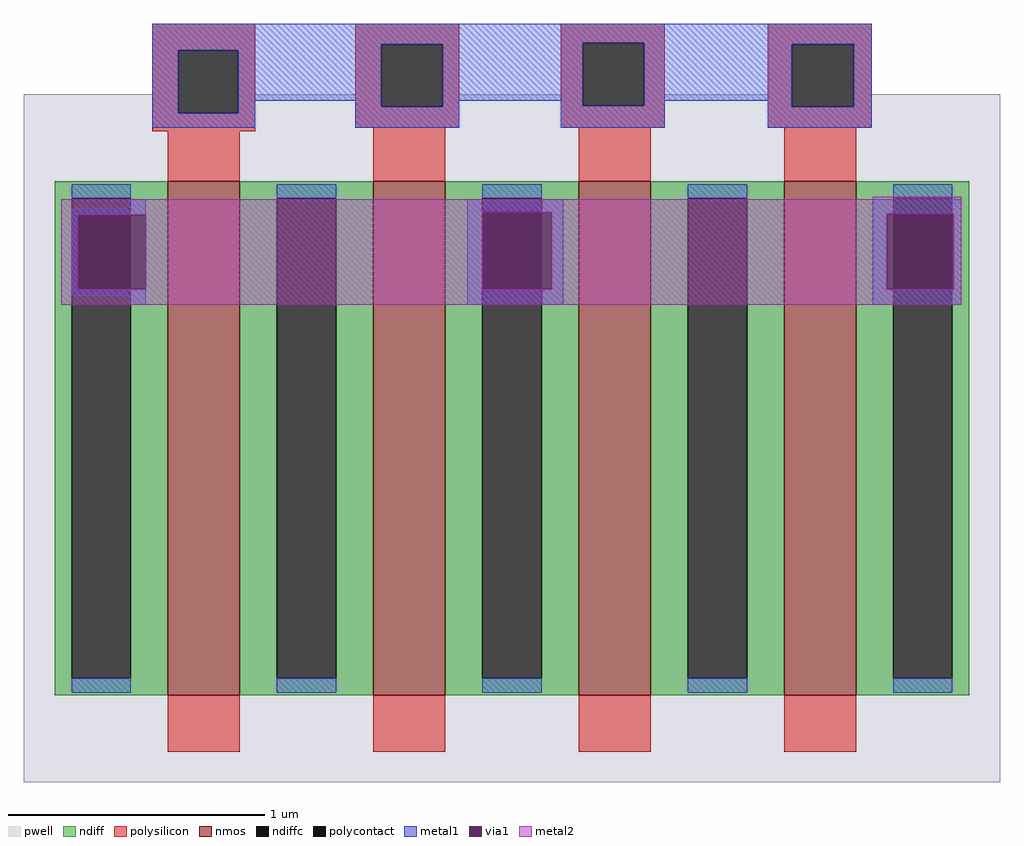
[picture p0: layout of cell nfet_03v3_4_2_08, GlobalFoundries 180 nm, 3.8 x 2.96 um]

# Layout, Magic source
magic
tech gf180mcuD
magscale 1 10
<< pwell >>
rect 100 507 180 591
rect 258 510 339 591
rect 418 510 499 591
rect 579 510 660 591
rect 83 453 95 454
rect 81 442 95 453
rect 42 384 95 442
rect 81 372 95 384
rect 661 372 730 454
<< ndiff >>
rect 83 453 95 454
rect 81 442 95 453
rect 42 384 95 442
rect 81 372 95 384
rect 661 372 730 454
<< polysilicon >>
rect 100 570 180 591
rect 100 521 120 570
rect 167 521 180 570
rect 100 507 180 521
rect 258 575 339 591
rect 258 526 278 575
rect 326 526 339 575
rect 258 510 339 526
rect 418 576 499 591
rect 418 527 435 576
rect 483 527 499 576
rect 418 510 499 527
rect 579 575 660 591
rect 579 526 598 575
rect 646 526 660 575
rect 579 510 660 526
<< polycontact >>
rect 120 521 167 570
rect 278 526 326 575
rect 435 527 483 576
rect 598 526 646 575
<< metal1 >>
rect 100 576 660 591
rect 100 575 435 576
rect 100 570 278 575
rect 100 521 120 570
rect 167 531 278 570
rect 167 521 180 531
rect 100 510 180 521
rect 258 526 278 531
rect 326 531 435 575
rect 326 526 339 531
rect 258 510 339 526
rect 418 527 435 531
rect 483 575 660 576
rect 483 531 598 575
rect 483 527 499 531
rect 418 510 499 527
rect 579 526 598 531
rect 646 526 660 575
rect 579 510 660 526
rect 723 454 724 455
rect 83 453 95 454
rect 81 447 95 453
rect 37 442 95 447
rect 37 384 42 442
rect 37 379 95 384
rect 81 372 95 379
rect 345 444 420 454
rect 345 384 357 444
rect 411 384 420 444
rect 345 372 420 384
rect 661 443 730 454
rect 661 384 672 443
rect 724 384 730 443
rect 661 372 730 384
<< via1 >>
rect 42 384 95 442
rect 357 384 411 444
rect 672 384 724 443
<< metal2 >>
rect 661 454 730 456
rect 29 444 730 454
rect 29 442 357 444
rect 29 384 42 442
rect 95 384 357 442
rect 411 443 730 444
rect 411 384 672 443
rect 724 384 730 443
rect 29 372 730 384
use nfet_03v3_N2UC85  nfet_03v3_N2UC85_0
transform 1 0 380 0 1 268
box -380 -268 380 268
<< end >>

# cell nfet_03v3_N2UC85: kit device nfet_03v3, w 2 l 0.280 m 1 nf 4 diffcov 100 polycov 100 guard 0 glc 0 grc 0 gtc 0 gbc 0 tbcov 100 rlcov 100 topc 0 botc 0 poverlap 0 doverlap 1 lmin 0.28 wmin 0.22 class mosfet full_metal 0 compatible {nfet_03v3 nfet_06v0 nfet_06v0_nvt}
